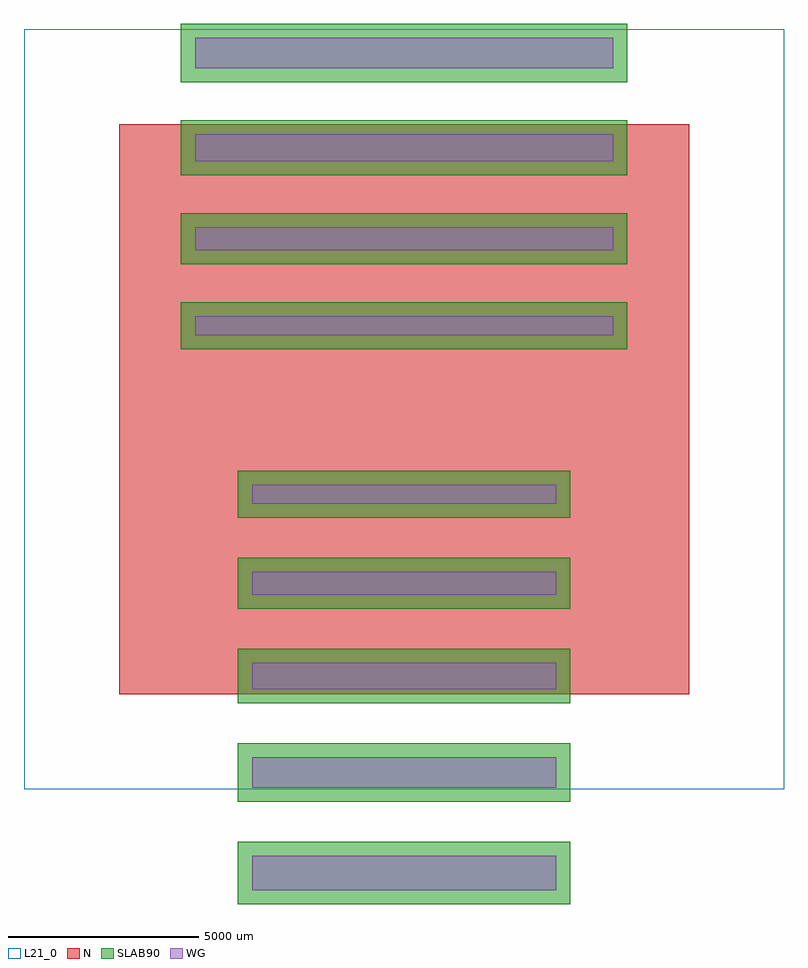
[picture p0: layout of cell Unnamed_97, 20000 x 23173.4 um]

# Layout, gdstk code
import gdstk
lib = gdstk.Library(unit=1e-6, precision=1e-09)
def R(c, l, rs):  # rectangles x0, y0, x1, y1
    for r in rs: c.add(gdstk.rectangle(r[:2], r[2:], *l))
WG = (1, 0)
SLAB90 = (3, 0)
N = (20, 0)
L21_0 = (21, 0)

rectangle_s8000_900_l1__ = lib.new_cell('rectangle_S8000_900_L1__743eedf8')
R(rectangle_s8000_900_l1__, WG, [(0,0,8000,900)])

rectangle_s8742p34_1542_ = lib.new_cell('rectangle_S8742p34_1542_3cb4d86e')
R(rectangle_s8742p34_1542_, SLAB90, [(0,0,8742.34,1542.34)])

rectangle_s8000_800_l1__ = lib.new_cell('rectangle_S8000_800_L1__9d6789f8')
R(rectangle_s8000_800_l1__, WG, [(0,0,8000,800)])

rectangle_s8742p34_1442_ = lib.new_cell('rectangle_S8742p34_1442_b5d4945f')
R(rectangle_s8742p34_1442_, SLAB90, [(0,0,8742.34,1442.34)])

rectangle_s8742p34_1242_ = lib.new_cell('rectangle_S8742p34_1242_e0d1e8f0')
R(rectangle_s8742p34_1242_, SLAB90, [(0,0,8742.34,1242.34)])

rectangle_s8742p34_1642_ = lib.new_cell('rectangle_S8742p34_1642_40e2523d')
R(rectangle_s8742p34_1642_, SLAB90, [(0,0,8742.34,1642.34)])

rectangle_s8000_700_l1__ = lib.new_cell('rectangle_S8000_700_L1__8f333247')
R(rectangle_s8000_700_l1__, WG, [(0,0,8000,700)])

rectangle_s11742p34_154_ = lib.new_cell('rectangle_S11742p34_154_534265d7')
R(rectangle_s11742p34_154_, SLAB90, [(0,0,11742.34,1542.34)])

rectangle_s8000_600_l1__ = lib.new_cell('rectangle_S8000_600_L1__39d5b34f')
R(rectangle_s8000_600_l1__, WG, [(0,0,8000,600)])

rectangle_s11742p34_144_ = lib.new_cell('rectangle_S11742p34_144_7962ba5a')
R(rectangle_s11742p34_144_, SLAB90, [(0,0,11742.34,1442.34)])

rectangle_s11000_700_l1_ = lib.new_cell('rectangle_S11000_700_L1_ddf4a92d')
R(rectangle_s11000_700_l1_, WG, [(0,0,11000,700)])

rectangle_s11742p34_134_ = lib.new_cell('rectangle_S11742p34_134_53d7302a')
R(rectangle_s11742p34_134_, SLAB90, [(0,0,11742.34,1342.34)])

rectangle_s8000_500_l1__ = lib.new_cell('rectangle_S8000_500_L1__00e8b23c')
R(rectangle_s8000_500_l1__, WG, [(0,0,8000,500)])

rectangle_s11000_600_l1_ = lib.new_cell('rectangle_S11000_600_L1_89c6ff42')
R(rectangle_s11000_600_l1_, WG, [(0,0,11000,600)])

rectangle_s11000_500_l1_ = lib.new_cell('rectangle_S11000_500_L1_e8eac09b')
R(rectangle_s11000_500_l1_, WG, [(0,0,11000,500)])

rectangle_s11742p34_124_ = lib.new_cell('rectangle_S11742p34_124_35634cfc')
R(rectangle_s11742p34_124_, SLAB90, [(0,0,11742.34,1242.34)])

rectangle_s8742p34_1342_ = lib.new_cell('rectangle_S8742p34_1342_f559c29b')
R(rectangle_s8742p34_1342_, SLAB90, [(0,0,8742.34,1342.34)])

rectangle_s11000_800_l1_ = lib.new_cell('rectangle_S11000_800_L1_c1175e7f')
R(rectangle_s11000_800_l1_, WG, [(0,0,11000,800)])

rectangle_s15000_15000__ = lib.new_cell('rectangle_S15000_15000__6a6c2047')
R(rectangle_s15000_15000__, N, [(0,0,15000,15000)])

rectangle_s20000_20000__ = lib.new_cell('rectangle_S20000_20000__aa48e1ac')
R(rectangle_s20000_20000__, L21_0, [(0,0,20000,20000)])

unnamed_97 = lib.new_cell('Unnamed_97')
unnamed_97.add(gdstk.Reference(rectangle_s8000_900_l1__, (-4000,-12661.7)))
unnamed_97.add(gdstk.Reference(rectangle_s8742p34_1542_, (-4371.17,-10340.53)))
unnamed_97.add(gdstk.Reference(rectangle_s8000_800_l1__, (-4000,-9969.36)))
unnamed_97.add(gdstk.Reference(rectangle_s8742p34_1442_, (-4371.17,-7748.19)))
unnamed_97.add(gdstk.Reference(rectangle_s8742p34_1242_, (-4371.17,-2863.51)))
unnamed_97.add(gdstk.Reference(rectangle_s8742p34_1642_, (-4371.17,-13032.87)))
unnamed_97.add(gdstk.Reference(rectangle_s8000_700_l1__, (-4000,-7377.02)))
unnamed_97.add(gdstk.Reference(rectangle_s11742p34_154_, (-5871.17,8598.19)))
unnamed_97.add(gdstk.Reference(rectangle_s8000_600_l1__, (-4000,-4884.68)))
unnamed_97.add(gdstk.Reference(rectangle_s11742p34_144_, (-5871.17,6155.85)))
unnamed_97.add(gdstk.Reference(rectangle_s11000_700_l1_, (-5500,6527.02)))
unnamed_97.add(gdstk.Reference(rectangle_s11742p34_134_, (-5871.17,3813.51)))
unnamed_97.add(gdstk.Reference(rectangle_s8000_500_l1__, (-4000,-2492.34)))
unnamed_97.add(gdstk.Reference(rectangle_s11000_600_l1_, (-5500,4184.68)))
unnamed_97.add(gdstk.Reference(rectangle_s11000_500_l1_, (-5500,1942.34)))
unnamed_97.add(gdstk.Reference(rectangle_s11742p34_124_, (-5871.17,1571.17)))
unnamed_97.add(gdstk.Reference(rectangle_s8742p34_1342_, (-4371.17,-5255.85)))
unnamed_97.add(gdstk.Reference(rectangle_s11000_800_l1_, (-5500,8969.36)))
unnamed_97.add(gdstk.Reference(rectangle_s15000_15000__, (-7500,-7500)))
unnamed_97.add(gdstk.Reference(rectangle_s20000_20000__, (-10000,-10000)))

lib.write_gds('Unnamed_97.gds')
